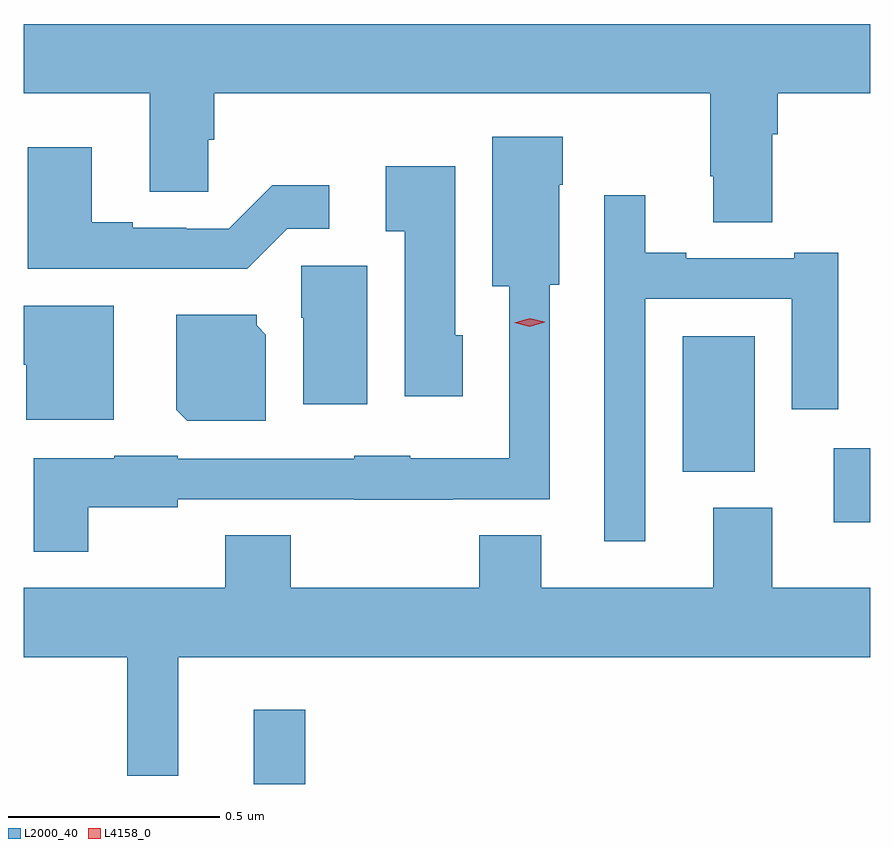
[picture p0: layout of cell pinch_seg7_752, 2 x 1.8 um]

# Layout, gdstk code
import gdstk
lib = gdstk.Library(unit=1e-6, precision=1e-09)
def R(c, l, rs):  # rectangles x0, y0, x1, y1
    for r in rs: c.add(gdstk.rectangle(r[:2], r[2:], *l))
def P(c, l, *ps):  # polygons
    for p in ps: c.add(gdstk.Polygon(p, *l))
L2000_40 = (2000, 40)
L4158_0 = (4158, 0)

pinch_seg7_752 = lib.new_cell('pinch_seg7_752')
R(pinch_seg7_752, L2000_40, [(316.193,1018.964,316.315,1019.14), (317.564,1019.582,317.65,1019.758), (317.207,1019.702,317.377,1020.022)])
P(pinch_seg7_752, L2000_40, [(317.419,1020.5),(317.432,1020.5),(317.432,1020.596),(317.65,1020.596),(317.65,1020.76),(315.65,1020.76),(315.65,1020.596),(315.947,1020.596),(315.947,1020.364),(316.086,1020.364),(316.086,1020.486),(316.1,1020.486),(316.1,1020.596),(317.272,1020.596),(317.272,1020.4),(317.279,1020.4),(317.279,1020.292),(317.419,1020.292)],
  [(315.802,1019.618),(316.014,1019.618),(316.014,1019.637),(316.431,1019.637),(316.431,1019.636),(316.663,1019.636),(316.663,1019.637),(316.893,1019.637),(316.893,1020.144),(316.915,1020.144),(316.915,1020.38),(316.923,1020.38),(316.923,1020.493),(316.757,1020.493),(316.757,1020.14),(316.797,1020.14),(316.797,1019.734),(316.563,1019.734),(316.563,1019.74),(316.431,1019.74),(316.431,1019.733),(316.014,1019.733),(316.014,1019.74),(315.864,1019.74),(315.864,1019.734),(315.673,1019.734),(315.673,1019.513),(315.802,1019.513)],
  [(316.272,1020.276),(316.372,1020.276),(316.372,1020.379),(316.237,1020.379),(316.134,1020.276),(316.034,1020.276),(316.034,1020.279),(315.907,1020.279),(315.907,1020.292),(315.811,1020.292),(315.811,1020.469),(315.659,1020.469),(315.659,1020.182),(316.178,1020.182)],
  [(316.687,1020.024),(316.669,1020.024),(316.669,1020.424),(316.505,1020.424),(316.505,1020.27),(316.55,1020.27),(316.55,1019.88),(316.687,1019.88)],
  [(317.118,1020.111),(317.465,1020.111),(317.465,1019.85),(317.575,1019.85),(317.575,1020.22),(317.471,1020.22),(317.471,1020.207),(317.215,1020.207),(317.215,1020.22),(317.119,1020.22),(317.119,1020.355),(317.022,1020.355),(317.022,1019.538),(317.118,1019.538)],
  [(316.462,1020.189),(316.306,1020.189),(316.306,1020.066),(316.31,1020.066),(316.31,1019.862),(316.462,1019.862)],
  [(315.862,1020.094),(315.65,1020.094),(315.65,1019.955),(315.656,1019.955),(315.656,1019.825),(315.862,1019.825)],
  [(316.222,1020.026),(316.2,1020.048),(316.2,1020.073),(316.01,1020.073),(316.01,1019.848),(316.036,1019.822),(316.222,1019.822)],
  [(316.015,1019.264),(317.65,1019.264),(317.65,1019.428),(317.419,1019.428),(317.419,1019.617),(317.279,1019.617),(317.279,1019.428),(316.873,1019.428),(316.873,1019.552),(316.726,1019.552),(316.726,1019.428),(316.281,1019.428),(316.281,1019.552),(316.126,1019.552),(316.126,1019.428),(315.65,1019.428),(315.65,1019.264),(315.894,1019.264),(315.894,1018.983),(316.015,1018.983)])
P(pinch_seg7_752, L4158_0, [(316.845,1020.045),(316.809,1020.054),(316.809,1020.054),(316.809,1020.054),(316.845,1020.065),(316.881,1020.056),(316.881,1020.056),(316.881,1020.055)])

lib.write_gds('pinch_seg7_752.gds')
